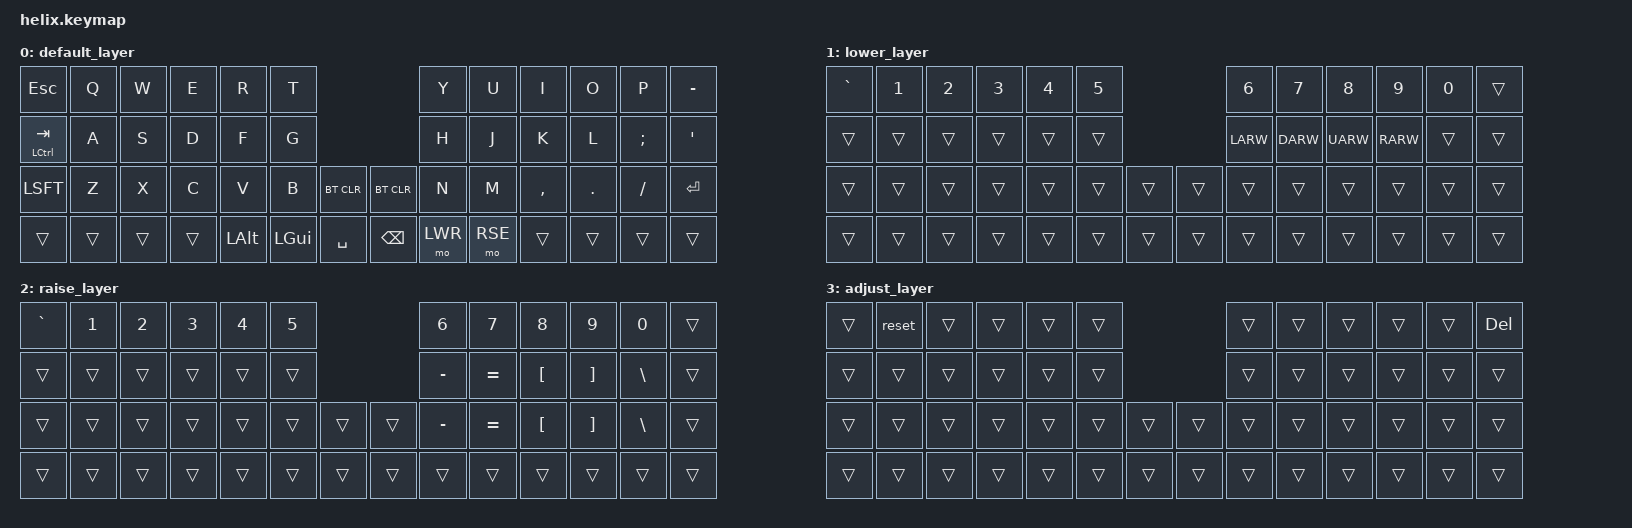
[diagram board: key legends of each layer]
#include <behaviors.dtsi>
#include <dt-bindings/zmk/keys.h>
#include <dt-bindings/zmk/bt.h>
#include <dt-bindings/zmk/reset.h>

#define DEFAULT 0
#define LWR     1
#define RSE     2
#define ADJ     3

/ {
  keymap {
		compatible = "zmk,keymap";

    default_layer {
      bindings = <
&kp ESC         &kp Q     &kp W     &kp E     &kp R    &kp T                               &kp Y     &kp U     &kp I      &kp O     &kp P      &kp MINUS 
&mt LCTL TAB    &kp A     &kp S     &kp D     &kp F    &kp G                               &kp H     &kp J     &kp K      &kp L     &kp SCLN   &kp QUOT
&kp LSFT        &kp Z     &kp X     &kp C     &kp V    &kp B      &bt BT_CLR   &bt BT_CLR  &kp N     &kp M     &kp CMMA   &kp DOT   &kp FSLH   &kp RET
&trans          &trans    &trans    &trans    &kp LALT  &kp LGUI  &kp SPC      &kp BKSP    &mo LWR   &mo RSE   &trans     &trans    &trans     &trans
      >;
    };

    lower_layer {
      bindings = <
&kp GRAV &kp NUM_1 &kp NUM_2 &kp NUM_3 &kp NUM_4 &kp NUM_5                     &kp NUM_6  &kp NUM_7  &kp NUM_8 &kp NUM_9  &kp NUM_0  &trans
&trans   &trans    &trans    &trans    &trans    &trans                        &kp LARW   &kp DARW   &kp UARW  &kp RARW   &trans     &trans
&trans   &trans    &trans    &trans    &trans    &trans    &trans    &trans    &trans     &trans     &trans    &trans     &trans     &trans
&trans   &trans    &trans    &trans    &trans    &trans    &trans    &trans    &trans     &trans     &trans    &trans     &trans     &trans
      >;
    };

    raise_layer {
      bindings = <
&kp GRAV &kp NUM_1 &kp NUM_2 &kp NUM_3 &kp NUM_4 &kp NUM_5                     &kp NUM_6     &kp NUM_7   &kp NUM_8    &kp NUM_9    &kp NUM_0   &trans
&trans   &trans    &trans    &trans    &trans    &trans                        &kp MINUS     &kp EQL     &kp LBKT     &kp RBKT     &kp BSLH    &trans
&trans   &trans    &trans    &trans    &trans    &trans    &trans    &trans    &kp MINUS     &kp EQL     &kp LBKT     &kp RBKT     &kp BSLH    &trans
&trans   &trans    &trans    &trans    &trans    &trans    &trans    &trans    &trans        &trans      &trans       &trans       &trans      &trans
      >;
    };

    adjust_layer {
      bindings = <
&trans   &reset    &trans    &trans    &trans    &trans                        &trans    &trans    &trans    &trans    &trans    &kp DEL
&trans   &trans    &trans    &trans    &trans    &trans                        &trans    &trans    &trans    &trans    &trans    &trans
&trans   &trans    &trans    &trans    &trans    &trans    &trans    &trans    &trans    &trans    &trans    &trans    &trans    &trans
&trans   &trans    &trans    &trans    &trans    &trans    &trans    &trans    &trans    &trans    &trans    &trans    &trans    &trans
      >;
    };
  };
};
